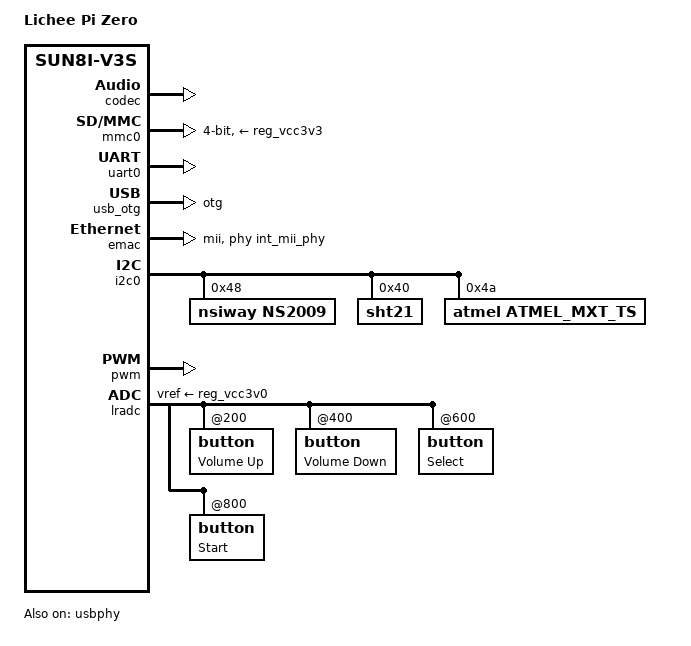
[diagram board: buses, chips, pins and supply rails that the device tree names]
/*
 * Copyright (C) 2016 Icenowy Zheng <icenowy@aosc.xyz>
 *
 * This file is dual-licensed: you can use it either under the terms
 * of the GPL or the X11 license, at your option. Note that this dual
 * licensing only applies to this file, and not this project as a
 * whole.
 *
 *  a) This file is free software; you can redistribute it and/or
 *     modify it under the terms of the GNU General Public License as
 *     published by the Free Software Foundation; either version 2 of the
 *     License, or (at your option) any later version.
 *
 *     This file is distributed in the hope that it will be useful,
 *     but WITHOUT ANY WARRANTY; without even the implied warranty of
 *     MERCHANTABILITY or FITNESS FOR A PARTICULAR PURPOSE.  See the
 *     GNU General Public License for more details.
 *
 * Or, alternatively,
 *
 *  b) Permission is hereby granted, free of charge, to any person
 *     obtaining a copy of this software and associated documentation
 *     files (the "Software"), to deal in the Software without
 *     restriction, including without limitation the rights to use,
 *     copy, modify, merge, publish, distribute, sublicense, and/or
 *     sell copies of the Software, and to permit persons to whom the
 *     Software is furnished to do so, subject to the following
 *     conditions:
 *
 *     The above copyright notice and this permission notice shall be
 *     included in all copies or substantial portions of the Software.
 *
 *     THE SOFTWARE IS PROVIDED "AS IS", WITHOUT WARRANTY OF ANY KIND,
 *     EXPRESS OR IMPLIED, INCLUDING BUT NOT LIMITED TO THE WARRANTIES
 *     OF MERCHANTABILITY, FITNESS FOR A PARTICULAR PURPOSE AND
 *     NONINFRINGEMENT. IN NO EVENT SHALL THE AUTHORS OR COPYRIGHT
 *     HOLDERS BE LIABLE FOR ANY CLAIM, DAMAGES OR OTHER LIABILITY,
 *     WHETHER IN AN ACTION OF CONTRACT, TORT OR OTHERWISE, ARISING
 *     FROM, OUT OF OR IN CONNECTION WITH THE SOFTWARE OR THE USE OR
 *     OTHER DEALINGS IN THE SOFTWARE.
 */

/dts-v1/;
#include <dt-bindings/input/input.h>
#include "sun8i-v3s.dtsi"
#include "sunxi-common-regulators.dtsi"

/ {
	model = "Lichee Pi Zero";
	compatible = "licheepi,licheepi-zero", "allwinner,sun8i-v3s";

	aliases {
		serial0 = &uart0;
		ethernet0 = &emac;
	};

	chosen {
		stdout-path = "serial0:115200n8";
	};






};
&codec {
	allwinner,audio-routing =
		"Headphone", "HP",
		"Headphone", "HPCOM",
		"MIC1", "Mic",
		"Mic",  "HBIAS";
	status = "okay";
};
&mmc0 {
	pinctrl-0 = <&mmc0_pins_a>;
	pinctrl-names = "default";
	broken-cd;
	bus-width = <4>;
	vmmc-supply = <&reg_vcc3v3>;
	status = "okay";
};

&uart0 {
	pinctrl-0 = <&uart0_pins_a>;
	pinctrl-names = "default";
	status = "okay";
};

&usb_otg {
	dr_mode = "otg";
	status = "okay";
};

&usbphy {
	usb0_id_det-gpio = <&pio 5 6 GPIO_ACTIVE_HIGH>;
	status = "okay";
};

&emac {
	phy-handle = <&int_mii_phy>;
	phy-mode = "mii";
	allwinner,leds-active-low;
	status = "okay";
};
&i2c0 {
        status = "okay";

        ns2009: ns2009@48 {
                compatible = "nsiway,ns2009";
                reg = <0x48>;
        };
        sht21: sht21@40 {
                compatible = "sht21";
                reg = <0x40>;
		};
        atmel:atmel_mxt_ts@4a {
                compatible = "atmel,atmel_mxt_ts";
                reg = <0x4a>;
                /*interrupt-parent = <&pio>;
                interrupts = <6 5 IRQ_TYPE_LEVEL_LOW>;*/ //省引脚，使用轮训方式
        };
};
&pwm {
        pinctrl-names = "default";
        pinctrl-0 = <&pwm0_pins>, <&pwm1_pins>;
        status = "okay";
};

&lradc {
	vref-supply = <&reg_vcc3v0>;
	status = "okay";

	button@200 {
		label = "Volume Up";
		linux,code = <KEY_VOLUMEUP>;
		channel = <0>;
		voltage = <200000>;
	};

	button@400 {
		label = "Volume Down";
		linux,code = <KEY_VOLUMEDOWN>;
		channel = <0>;
		voltage = <400000>;
	};

	button@600 {
		label = "Select";
		linux,code = <KEY_SELECT>;
		channel = <0>;
		voltage = <600000>;
	};

	button@800 {
		label = "Start";
		linux,code = <KEY_OK>;
		channel = <0>;
		voltage = <800000>;
	};
};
